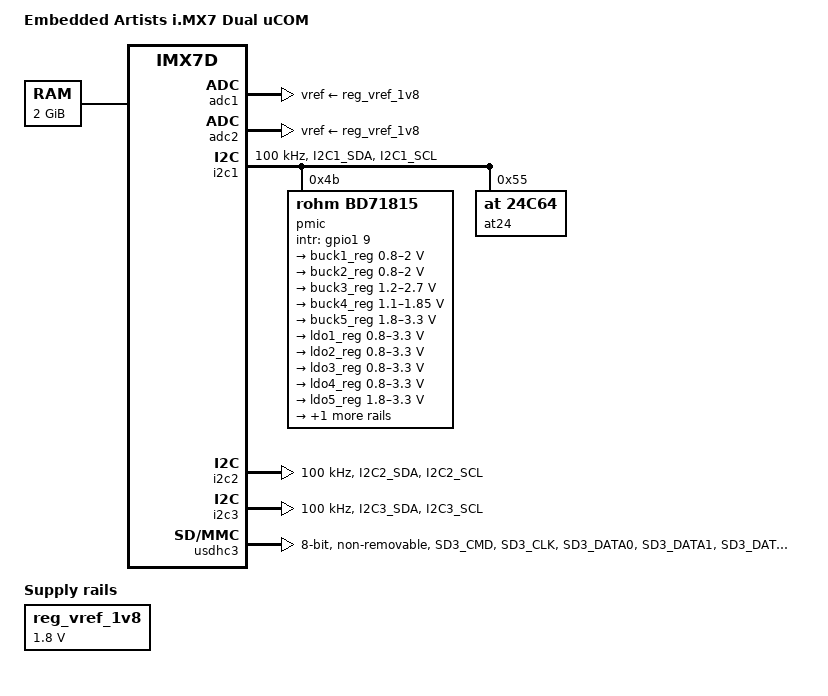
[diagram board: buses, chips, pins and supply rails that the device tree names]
/*
 * Copyright (C) 2015 Freescale Semiconductor, Inc.
 *
 * This program is free software; you can redistribute it and/or modify
 * it under the terms of the GNU General Public License version 2 as
 * published by the Free Software Foundation.
 */

/dts-v1/;

#include <dt-bindings/input/input.h>
#include "imx7d.dtsi"

/ {
	model = "Embedded Artists i.MX7 Dual uCOM";
	compatible = "fsl,imx7dea-ucom", "fsl,imx7d";

	memory@80000000 {
		device_type = "memory";
		reg = <0x80000000 0x80000000>;
	};

	reserved-memory {
		#address-cells = <1>;
		#size-cells = <1>;
		ranges;

		linux,cma {
			compatible = "shared-dma-pool";
			reusable;
			size = <0x14000000>;
			linux,cma-default;
		};
	};

	regulators {
		compatible = "simple-bus";
		#address-cells = <1>;
		#size-cells = <0>;

		reg_vref_1v8: regulator@3 {
			compatible = "regulator-fixed";
			regulator-name = "vref-1v8";
			regulator-min-microvolt = <1800000>;
			regulator-max-microvolt = <1800000>;
		};

	};

};

&adc1 {
	vref-supply = <&reg_vref_1v8>;
	status = "okay";
};

&adc2 {
	vref-supply = <&reg_vref_1v8>;
	status = "okay";
};

&cpu0 {
	arm-supply = <&buck1_reg>;
};

&i2c1 {
	clock-frequency = <100000>;
	pinctrl-names = "default";
	pinctrl-0 = <&pinctrl_i2c1>;
	status = "okay";

	pmic: bd7181x@4b {
		reg = <0x4b>;
		compatible = "rohm,bd71815";
		/* PMIC_INT_B GPIO1_IO09 */
		gpio_intr = <&gpio1 9 0>;

		bd7181x,pmic-buck1-uses-i2c-dvs;
		bd7181x,pmic-buck1-dvs-voltage = <1250000>, <1000000>; /* VDD_ARM */
		bd7181x,pmic-buck2-uses-i2c-dvs;
		bd7181x,pmic-buck2-dvs-voltage = <1250000>, <1000000>; /* VDD_SOC */

		gpo {
			rohm,mode = <0x30>;	/* 0b0011_0000 all gpos with cmos output mode */
		};

		regulators {
			/* #address-cells = <1>;
			#size-cells = <0>; */

                        buck1_reg: buck1 {
                                regulator-min-microvolt = <800000>;
                                regulator-max-microvolt = <2000000>;
                                regulator-boot-on;
                                regulator-always-on;
                                regulator-ramp-delay = <1250>;
                        };

                        buck2_reg: buck2 {
                                regulator-min-microvolt = <800000>;
                                regulator-max-microvolt = <2000000>;
                                regulator-boot-on;
                                regulator-always-on;
                                regulator-ramp-delay = <1250>;
                        };

                        buck3_reg: buck3 {
                                regulator-min-microvolt = <1200000>;
                                regulator-max-microvolt = <2700000>;
                                regulator-boot-on;
                                regulator-always-on;
                        };

                        buck4_reg: buck4 {
                                regulator-min-microvolt = <1100000>;
                                regulator-max-microvolt = <1850000>;
                                regulator-boot-on;
                                regulator-always-on;
                        };

                        buck5_reg: buck5 {
                                regulator-min-microvolt = <1800000>;
                                regulator-max-microvolt = <3300000>;
                                regulator-boot-on;
                                regulator-always-on;
                        };

                        ldo1_reg: ldo1 {
                                regulator-min-microvolt = <800000>;
                                regulator-max-microvolt = <3300000>;
                                regulator-boot-on;
                                regulator-always-on;
                        };

                        ldo2_reg: ldo2 {
                                regulator-min-microvolt = <800000>;
                                regulator-max-microvolt = <3300000>;
                                regulator-boot-on;
                                regulator-always-on;
                        };

                        ldo3_reg: ldo3 {
                                regulator-min-microvolt = <800000>;
                                regulator-max-microvolt = <3300000>;
                                regulator-boot-on;
                                regulator-always-on;
                        };

                        ldo4_reg: ldo4 {
                                regulator-min-microvolt = <800000>;
                                regulator-max-microvolt = <3300000>;
                                regulator-boot-on;
                                regulator-always-on;
                        };

                        ldo5_reg: ldo5 {
                                regulator-min-microvolt = <1800000>;
                                regulator-max-microvolt = <3300000>;  /* Murata: VSELECT sets VIO. */ 
				gpio = <&gpio1 8 GPIO_ACTIVE_HIGH>;   /* Murata: set VIO to 1.8V */
                                regulator-boot-on;
                                regulator-always-on;
                        };

                        dvref_reg: dvref {
                                regulator-boot-on;
                                regulator-always-on;
                        };

                        lpsr_reg: lpsr {
                                regulator-boot-on;
                                regulator-always-on;
                        };

                        wled_reg: wled {
                                regulator-min-microamp = <10>;
                                regulator-max-microamp = <25000>;
                                regulator-min-microvolt = <10>;
                                regulator-max-microvolt = <25000>;
                                regulator-boot-off;
                                regulator-always-off;
                        };

		};
		regulator-virtuals {
			compatible = "simple-bus";

			virt-buck1 {
				compatible = "regulator-virtual";
				virtual-supply = "buck1";
			};
			virt-buck2 {
				compatible = "regulator-virtual";
				virtual-supply = "buck2";
			};
			virt-buck3 {
				compatible = "regulator-virtual";
				virtual-supply = "buck3";
			};
			virt-buck4 {
				compatible = "regulator-virtual";
				virtual-supply = "buck4";
			};
			virt-buck5 {
				compatible = "regulator-virtual";
				virtual-supply = "buck5";
			};
			virt-ldo1 {
				compatible = "regulator-virtual";
				virtual-supply = "ldo1";
			};
			virt-ldo2 {
				compatible = "regulator-virtual";
				virtual-supply = "ldo2";
			};
			virt-ldo3 {
				compatible = "regulator-virtual";
				virtual-supply = "ldo3";
			};
			virt-ldo4 {
				compatible = "regulator-virtual";
				virtual-supply = "ldo4";
			};
			virt-ldo5 {
				compatible = "regulator-virtual";
				virtual-supply = "ldo5";
			};
			user-dvref {
				compatible = "userspace_consumer";
				uc-name = "dvref";
				suck-supply = "dvref";
			};
			user-lpsr {
				compatible = "userspace_consumer";
				uc-name = "lpsr";
				suck-supply = "lpsr";
			};

			virt-wled {
				compatible = "regulator-virtual";
				virtual-supply = "wled";
			};
		};
	};

	at24@55 {
		compatible = "at,24c64";
		pagesize = <32>;
		reg = <0x55>;
	};
};

&i2c2 {
	clock-frequency = <100000>;
	pinctrl-names = "default";
	pinctrl-0 = <&pinctrl_i2c2>;
	status = "okay";
};

&i2c3 {
	clock-frequency = <100000>;
	pinctrl-names = "default";
	pinctrl-0 = <&pinctrl_i2c3>;
	status = "okay";

};

&i2c4 {
	clock-frequency = <100000>;
	pinctrl-names = "default";
	pinctrl-0 = <&pinctrl_i2c4>;
	status = "disabled";

};

&iomuxc {

	imx7d-ucom {


		pinctrl_i2c1: i2c1grp {
			fsl,pins = <
				MX7D_PAD_I2C1_SDA__I2C1_SDA	0x4000007f
				MX7D_PAD_I2C1_SCL__I2C1_SCL	0x4000007f
			>;
		};

		pinctrl_i2c2: i2c2grp {
			fsl,pins = <
				MX7D_PAD_I2C2_SDA__I2C2_SDA	0x4000007f
				MX7D_PAD_I2C2_SCL__I2C2_SCL	0x4000007f
			>;
		};

		pinctrl_i2c3: i2c3grp {
			fsl,pins = <
				MX7D_PAD_I2C3_SDA__I2C3_SDA          0x4000007f
				MX7D_PAD_I2C3_SCL__I2C3_SCL          0x4000007f
			>;
		};

		pinctrl_i2c4: i2c4grp {
			fsl,pins = <
				MX7D_PAD_SAI1_RX_BCLK__I2C4_SDA		0x4000007f
				MX7D_PAD_SAI1_RX_SYNC__I2C4_SCL		0x4000007f
			>;
		};


		pinctrl_usdhc3: usdhc3grp {
			fsl,pins = <
				MX7D_PAD_SD3_CMD__SD3_CMD	0x59
				MX7D_PAD_SD3_CLK__SD3_CLK	0x19
				MX7D_PAD_SD3_DATA0__SD3_DATA0	0x59
				MX7D_PAD_SD3_DATA1__SD3_DATA1	0x59
				MX7D_PAD_SD3_DATA2__SD3_DATA2	0x59
				MX7D_PAD_SD3_DATA3__SD3_DATA3	0x59
				MX7D_PAD_SD3_DATA4__SD3_DATA4	0x59
				MX7D_PAD_SD3_DATA5__SD3_DATA5	0x59
				MX7D_PAD_SD3_DATA6__SD3_DATA6	0x59
				MX7D_PAD_SD3_DATA7__SD3_DATA7	0x59
				MX7D_PAD_SD3_STROBE__SD3_STROBE	0x19
				MX7D_PAD_SD3_RESET_B__SD3_RESET 0x59
			>;
		};

		pinctrl_usdhc3_100mhz: usdhc3grp_100mhz {
			fsl,pins = <
				MX7D_PAD_SD3_CMD__SD3_CMD	0x5a
				MX7D_PAD_SD3_CLK__SD3_CLK	0x1a
				MX7D_PAD_SD3_DATA0__SD3_DATA0	0x5a
				MX7D_PAD_SD3_DATA1__SD3_DATA1	0x5a
				MX7D_PAD_SD3_DATA2__SD3_DATA2	0x5a
				MX7D_PAD_SD3_DATA3__SD3_DATA3	0x5a
				MX7D_PAD_SD3_DATA4__SD3_DATA4	0x5a
				MX7D_PAD_SD3_DATA5__SD3_DATA5	0x5a
				MX7D_PAD_SD3_DATA6__SD3_DATA6	0x5a
				MX7D_PAD_SD3_DATA7__SD3_DATA7	0x5a
				MX7D_PAD_SD3_STROBE__SD3_STROBE	0x1a
				MX7D_PAD_SD3_RESET_B__SD3_RESET 0x59
			>;
		};

		pinctrl_usdhc3_200mhz: usdhc3grp_200mhz {
			fsl,pins = <
				MX7D_PAD_SD3_CMD__SD3_CMD	0x5b
				MX7D_PAD_SD3_CLK__SD3_CLK	0x1b
				MX7D_PAD_SD3_DATA0__SD3_DATA0	0x5b
				MX7D_PAD_SD3_DATA1__SD3_DATA1	0x5b
				MX7D_PAD_SD3_DATA2__SD3_DATA2	0x5b
				MX7D_PAD_SD3_DATA3__SD3_DATA3	0x5b
				MX7D_PAD_SD3_DATA4__SD3_DATA4	0x5b
				MX7D_PAD_SD3_DATA5__SD3_DATA5	0x5b
				MX7D_PAD_SD3_DATA6__SD3_DATA6	0x5b
				MX7D_PAD_SD3_DATA7__SD3_DATA7	0x5b
				MX7D_PAD_SD3_STROBE__SD3_STROBE	0x1b
				MX7D_PAD_SD3_RESET_B__SD3_RESET 0x59
			>;
		};

	};
};

&sdma {
	status = "okay";
};

/* eMMC */
&usdhc3 {
	pinctrl-names = "default", "state_100mhz", "state_200mhz";
	pinctrl-0 = <&pinctrl_usdhc3>;
	pinctrl-1 = <&pinctrl_usdhc3_100mhz>;
	pinctrl-2 = <&pinctrl_usdhc3_200mhz>;
	assigned-clocks = <&clks IMX7D_USDHC3_ROOT_CLK>;
	assigned-clock-rates = <100000000>;
	bus-width = <8>;
	tuning-step = <2>;
	non-removable;
	status = "okay";
};
